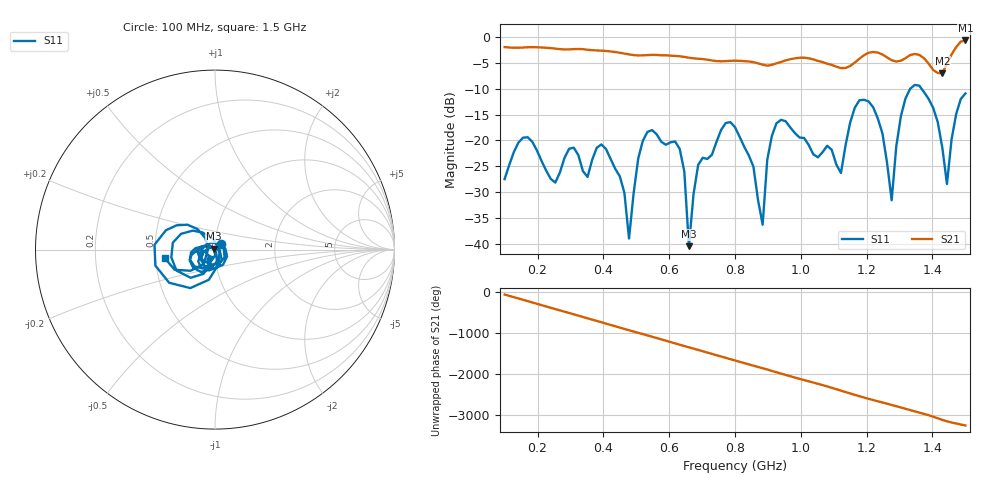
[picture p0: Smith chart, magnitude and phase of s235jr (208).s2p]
! NanoVNA-App
! Date: 2025-09-25 15:05:47
! Start: 100MHz Stop: 1,5GHz Points: 101
! S-Parameter data: F S11 S21 S12 S22
# Hz S RI R 50
!  Frequency  S11_Real  S11_Imag  S21_Real  S21_Imag  S12_Real  S12_Imag  S22_Real  S22_Imag
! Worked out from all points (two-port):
!   101 points, 100 MHz to 1.5 GHz, reference 50 ohm
!   highest |S21| = -0.68 dB at 1.5 GHz (marker M1); lowest = -7.0 dB at 1.43 GHz (marker M2)
!   |S21| within 3 dB of the highest: start of sweep to 621.4 MHz; 1.189 GHz to 1.255 GHz (66.23 MHz wide, 5.42 % of centre) (the widest 2 of 4)
!   lowest |S11| = -40.4 dB at 660 MHz (marker M3), VSWR 1.02, Z = 49.2 + j0.538 ohm
!   |S11| at or under -10 dB: start of sweep to 1.333 GHz; 1.367 GHz to end of sweep
!   S12 and S22 are empty: the file has one direction only
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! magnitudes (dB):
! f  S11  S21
! 100 MHz  -27.5  -2.0
! 156 MHz  -19.5  -2.0
! 338 MHz  -25.9  -2.4
! 408 MHz  -21.6  -2.7
! 478 MHz  -39.0  -3.4
! 520 MHz  -20.1  -3.6
! 576 MHz  -20.3  -3.5
! 632 MHz  -21.6  -3.7
! 660 MHz  -40.4  -4.0
! 688 MHz  -24.7  -4.2
! 800 MHz  -17.4  -4.6
! 884 MHz  -36.3  -5.4
! 898 MHz  -23.8  -5.6
! 926 MHz  -16.7  -5.1
! 1.038 GHz  -22.7  -4.3
! 1.122 GHz  -26.3  -6.0
! 1.206 GHz  -12.5  -3.1
! 1.276 GHz  -31.6  -4.5
! 1.332 GHz  -10.0  -3.5
! 1.43 GHz  -21.4  -7.0
! 1.444 GHz  -28.4  -5.2
! 1.5 GHz  -10.9  -0.7
